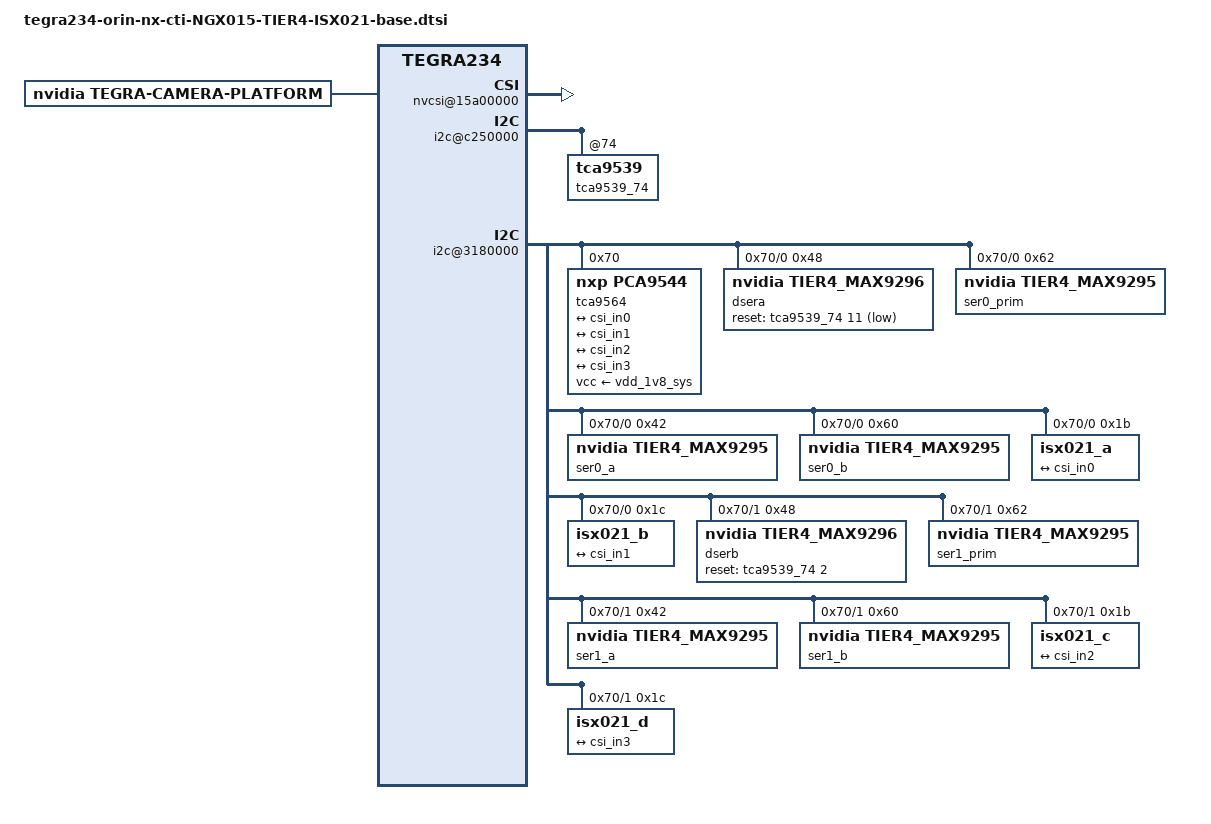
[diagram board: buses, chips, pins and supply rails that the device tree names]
/*
 * Copyright (c) 2022, Connect Tech Inc.  All rights reserved.
 *
 * This program is free software; you can redistribute it and/or modify it
 * under the terms and conditions of the GNU General Public License,
 * version 2, as published by the Free Software Foundation.
 *
 * This program is distributed in the hope it will be useful, but WITHOUT
 * ANY WARRANTY; without even the implied warranty of MERCHANTABILITY or
 * FITNESS FOR A PARTICULAR PURPOSE.  See the GNU General Public License for
 * more details.
 *
 * You should have received a copy of the GNU General Public License
 * along with this program.  If not, see <http://www.gnu.org/licenses/>.
 */

#include "dt-bindings/clock/tegra234-clock.h"
#include "tegra234-cti-tier4-isx021-modes-header.dtsi"

#define CAM_LANES 4
#define NUM_LANES "4"
#define BUS_WIDTH 4

#define VC_ID0 "0"
#define VC_ID1 "1"
#define VC_ID0_PORTS 0 
#define VC_ID1_PORTS 1


&cti_polaris_coaxA{
    regulator-always-on;
};
&cti_polaris_coaxB{
    regulator-always-on;
};
&cti_polaris_coaxC{
    regulator-always-on;
};
&cti_polaris_coaxD{
    regulator-always-on;
};

/ {

    tegra-capture-vi {
        status = "okay";
        num-channels = <4>;
        ports {
	    #address-cells = <1>;
	    #size-cells = <0>;
	    status = "okay";
            port@0 {
		reg = <0>;
                status = "okay";
                vi_in0: endpoint {
		            vc-id = <VC_ID0_PORTS>;
                    port-index = <0>;
                    status = "okay";
                    bus-width = <4>;
		    remote-endpoint = <&csi_out0>;
                };
            };
            port@1 {
                status = "okay";
                reg = <1>;
                vi_in1: endpoint {
                    vc-id = <VC_ID1_PORTS>;
                    port-index = <0>;
                    status = "okay";
                    bus-width = <4>;
                    remote-endpoint = <&csi_out1>;
                };
            };
            port@2 {
                status = "okay";
                reg = <2>;
                vi_in2: endpoint {
                    vc-id = <VC_ID0_PORTS>;
                    port-index = <2>;
                    status = "okay";
                    bus-width = <4>;
                    remote-endpoint = <&csi_out2>;
                };
                
            };
            port@3 {
                status = "okay";
                reg = <3>;
                vi_in3: endpoint {
                    vc-id = <VC_ID1_PORTS>;
                    port-index = <2>;
                    status = "okay";
                    bus-width = <4>;
                    remote-endpoint = <&csi_out3>;
                };

            };


    };
    };

    host1x@13e00000 {
        nvcsi@15a00000 {
	    num-channels = <4>;
	    #address-cells = <1>;
	    #size-cells = <0>;
            status = "okay";
            channel@0 {
                status = "okay";
		        reg = <0>;
                ports {
		            #address-cells = <1>;
		            #size-cells = <0>;
                    port@0 {
                        status = "okay";
		            	reg = <0>;
                        csi_in0: endpoint@0 {
                            status = "okay";
                            port-index = <0>;
			                bus-width = <4>;
                            remote-endpoint = <&cam_out0>;
                        };
                    };
                    port@1 {
                        status = "okay";
		            	reg = <1>;
                        csi_out0: endpoint@1 {
                            status = "okay";
			                port-index = <0>;
			                bus-width = <4>;
			                remote-endpoint = <&vi_in0>;
                        };
                    };
                };
            };
            channel@1 {
                status = "okay";
            reg = <1>;
            ports {
                #address-cells = <1>;
                #size-cells = <0>;

                port@0 {
                            reg = <0>;
                            status = "okay";
                            csi_in1: endpoint@2 {
                                status = "okay";
                                port-index = <0>;
                                bus-width = <4>;
                                remote-endpoint = <&cam_out1>;
                            };
                        };
                        port@1 {
                            status = "okay";
                              reg = <1>;
                            csi_out1: endpoint@3 {
                                status = "okay";
                    port-index = <0>;
                    bus-width = <4>;
                    remote-endpoint = <&vi_in1>;
                            };
                        };
                    };
                };
            channel@2 {
                status = "okay";
            reg = <2>;
            ports {
                #address-cells = <1>;
                #size-cells = <0>;

                port@0 {
                            reg = <0>;
                            status = "okay";
                            csi_in2: endpoint@4 {
                                status = "okay";
                                port-index = <2>;
                                bus-width = <4>;
                                remote-endpoint = <&cam_out2>;
                            };
                        };
                        port@1 {
                            status = "okay";
                              reg = <1>;
                            csi_out2: endpoint@5 {
                                status = "okay";
                    port-index = <2>;
                    bus-width = <4>;
                    remote-endpoint = <&vi_in2>;
                            };
                        };
                    };
                };
            channel@3{
                status = "okay";
            reg = <3>;
            ports {
                #address-cells = <1>;
                #size-cells = <0>;

                port@0 {
                            reg = <0>;
                            status = "okay";
                            csi_in3: endpoint@6 {
                                status = "okay";
                                port-index = <2>;
                                bus-width = <4>;
                                remote-endpoint = <&cam_out3>;
                            };
                        };
                        port@1 {
                            status = "okay";
                              reg = <1>;
                            csi_out3: endpoint@7 {
                                status = "okay";
                    port-index = <2>;
                    bus-width = <4>;
                    remote-endpoint = <&vi_in3>;
                            };
                        };
                    };
                };

            };
    };
    i2c@c250000 {

        tca9539_74:tca9539@74 {
            gpio-line-names = "RST_A","PWDN_A","RST_B","PWDN_B","TEMP_SNS_PEN","CAM_PRST#_A","CAM_PRST#_B","CAM_PRST#_C", 
            "CAM_PRST#_D", "CFG_CTRL_Nch", "CFG_CTRL_Pch","DES_STATE_RSTA", "DES_STATE_RSTB";
            tca9539_74_outlow {
                status = "okay";
                gpio-hog;
                gpios = <0 0 1 0 2 0 3 0 4 0 9 0 10 0>;
                output-low;
                line-name = "RST_A","PWDN_A","RST_B","PWDN_B","TEMP_SNS_PEN", "CFG_CTRL_Nch", "CFG_CTRL_Pch";
            };
            tca9539_74_outhigh {
                status = "okay";
                gpio-hog;
                gpios = < 5 0 6 0 7 0 8 0 11 0 12 0>;
                output-high;
                line-name = "CAM_PRST#_A","CAM_PRST#_B","CAM_PRST#_C", "CAM_PRST#_D","DES_STATE_RSTA", "DES_STATE_RSTB";
            };
            tca9539_74_input {
                status = "disabled";
            };

        };
    };



    i2c@3180000 {
	status = "okay";
	#address-cells = <1>;
	#size-cells = <0>;
        tca9564@70 {
	    status = "okay";
	    compatible = "nxp,pca9544";
	    reg = <0x70>;
	    #address-cells = <1>;
	    #size-cells = <0>;
	    vcc-supply = <&vdd_1v8_sys>;
	    //skip_mux_detect;
	    force_bus_start = <0x28>;
       i2c@0 {
        status = "okay";
		reg = <0>;
		i2c-mux,deselect-on-exit;
		#address-cells = <1>;
		#size-cells = <0>;

        dsera: max9296@48 {
           compatible = "nvidia,tier4_max9296";
            status = "okay";
            reg = <0x48>;
            csi-mode = "2x4";
            max-src = <2>;
            reset-gpios = <&tca9539_74 11 GPIO_ACTIVE_LOW>;
        };
        ser0_prim: max9295_prim@62 {
            compatible = "nvidia,tier4_max9295";
            reg = <0x62>;
            is-prim-ser;
            status = "okay";
        };
        ser0_a: max9295_a@42 {
            compatible = "nvidia,tier4_max9295";
            reg = <0x42>;
            nvidia,gmsl-dser-device = <&dsera>;
            status = "okay";
        };
        ser0_b: max9295_b@60 {
            compatible = "nvidia,tier4_max9295";
            reg = <0x60>;
            nvidia,gmsl-dser-device = <&dsera>;
            status = "okay";
        };


#define LANE_POLARITY "6"
#define TEGRA_SINTERFACE "serial_a"
        isx021_a@1b {
            nvidia,gmsl-ser-device = <&ser0_a>;
            nvidia,gmsl-dser-device = <&dsera>;
            reg = <0x1b>;
            status = "okay";
            devnode = "video0";
            reg_mux = <0>;
           
            SENSOR_COMMON

            #define VC_ID VC_ID0
            SENSOR_MODE0
            
            
            ports {
                #address-cells = <1>;
                #size-cells = <0>;
                port@0 {
                    reg = <0>;
                    cam_out0: endpoint {
                        vc-id = <0>;
                        port-index = <0>;
                        bus-width = <BUS_WIDTH>;
                        remote-endpoint = <&csi_in0>;
                    };
                };
            };
            gmsl-link {
                src-csi-port = "b";     /* Port at which sensor is connected to its serializer device. */
                dst-csi-port = "a";     /* Destination CSI port on the Jetson side, connected at deserializer. */
                serdes-csi-link = "a";  /* GMSL link sensor/serializer connected */
                csi-mode = "1x4";       /*  to sensor CSI mode. */
                st-vc = <0>;            /* Sensor source default VC ID: 0 unless overridden by sensor. */
                vc-id = <0>;            /* Destination VC ID, assigned to sensor stream by deserializer. */
                num-lanes = <BUS_WIDTH>;
                streams = "ued-u1","yuv8"; /* Types of streams sensor is streaming. */
            };
        };
        isx021_b@1c {
            nvidia,gmsl-ser-device = <&ser0_b>;
            nvidia,gmsl-dser-device = <&dsera>;
            devnode = "video1";
            reg = <0x1c>;
            status = "okay";
            reg_mux = <0>;

            SENSOR_COMMON

            #undef VC_ID
            #define VC_ID VC_ID1

            SENSOR_MODE0           
            
            ports {
                #address-cells = <1>;
                #size-cells = <0>;
                port@0 {
                    reg = <0>;
                    cam_out1: endpoint {
                        vc-id = <1>;
                        port-index = <0>;
                        bus-width = <BUS_WIDTH>;
                        remote-endpoint = <&csi_in1>;
                    };
                };
            };
            gmsl-link {
                src-csi-port = "b";     /* Port at which sensor is connected to its serializer device. */
                dst-csi-port = "a";     /* Destination CSI port on the Jetson side, connected at deserializer. */
                serdes-csi-link = "b";  /* GMSL link sensor/serializer connected */
                csi-mode = "1x4";       /*  to sensor CSI mode. */
                st-vc = <0>;            /* Sensor source default VC ID: 0 unless overridden by sensor. */
                vc-id = <1>;            /* Destination VC ID, assigned to sensor stream by deserializer. */
                num-lanes = <BUS_WIDTH>;
                streams = "ued-u1","yuv8"; /* Types of streams sensor is streaming. */
            };
        };



       };

       i2c@1 {
        status = "okay";
		reg = <1>;
		i2c-mux,deselect-on-exit;
		#address-cells = <1>;
		#size-cells = <0>;

        dserb: max9296@48 {
            compatible = "nvidia,tier4_max9296";
            status = "okay";
            reg = <0x48>;
            csi-mode = "2x4";
            max-src = <2>;
            reset-gpios = <&tca9539_74 2 GPIO_ACTIVE_HIGH>;
        };

        ser1_prim: max9295_prim@62 {
            compatible = "nvidia,tier4_max9295";
            reg = <0x62>;
            is-prim-ser;
            status = "okay";
        };
        ser1_a: max9295_a@42 {
            compatible = "nvidia,tier4_max9295";
            reg = <0x42>;
            nvidia,gmsl-dser-device = <&dserb>;
            status = "okay";
        };
        ser1_b: max9295_b@60 {
            compatible = "nvidia,tier4_max9295";
            reg = <0x60>;
            nvidia,gmsl-dser-device = <&dserb>;
            status = "okay";
        };

        #undef LANE_POLARITY
        #undef TEGRA_SINTERFACE
        #define LANE_POLARITY "0"
        #define TEGRA_SINTERFACE "serial_c"

        isx021_c@1b {
            nvidia,gmsl-ser-device = <&ser1_a>;
            nvidia,gmsl-dser-device = <&dserb>;
            reg = <0x1b>;
            status = "okay";
            devnode = "video2";

            reg_mux = <1>;
            SENSOR_COMMON

            #undef VC_ID
            #define VC_ID VC_ID0
            SENSOR_MODE0

            ports {
                #address-cells = <1>;
                #size-cells = <0>;
                port@0 {
                    reg = <0>;
                    cam_out2: endpoint {
                        vc-id = <0>;
                        port-index = <2>;
                        bus-width = <BUS_WIDTH>;
                        remote-endpoint = <&csi_in2>;
                    };
                };
            };
            gmsl-link {
                src-csi-port = "b";     /* Port at which sensor is connected to its serializer device. */
                dst-csi-port = "a";     /* Destination CSI port on the Jetson side, connected at deserializer. */
                serdes-csi-link = "a";  /* GMSL link sensor/serializer connected */
                csi-mode = "1x4";       /*  to sensor CSI mode. */
                st-vc = <0>;            /* Sensor source default VC ID: 0 unless overridden by sensor. */
                vc-id = <0>;            /* Destination VC ID, assigned to sensor stream by deserializer. */
                num-lanes = <BUS_WIDTH>;
                streams = "ued-u1","yuv8"; /* Types of streams sensor is streaming. */
            };
        };
            isx021_d@1c {
            nvidia,gmsl-ser-device = <&ser1_b>;
            nvidia,gmsl-dser-device = <&dserb>;
            devnode = "video3";
            reg = <0x1c>;
            status = "okay";

            reg_mux = <1>;
            SENSOR_COMMON

            #undef VC_ID
            #define VC_ID VC_ID1
            SENSOR_MODE0
            
            ports {
                #address-cells = <1>;
                #size-cells = <0>;
                port@0 {
                    reg = <0>;
                    cam_out3: endpoint {
                        vc-id = <1>;
                        port-index = <2>;
                        bus-width = <BUS_WIDTH>;
                        remote-endpoint = <&csi_in3>;
                    };
                };
            };
            gmsl-link {
                src-csi-port = "b";     /* Port at which sensor is connected to its serializer device. */
                dst-csi-port = "a";     /* Destination CSI port on the Jetson side, connected at deserializer. */
                serdes-csi-link = "b";  /* GMSL link sensor/serializer connected */
                csi-mode = "1x4";       /*  to sensor CSI mode. */
                st-vc = <0>;            /* Sensor source default VC ID: 0 unless overridden by sensor. */
                vc-id = <1>;            /* Destination VC ID, assigned to sensor stream by deserializer. */
                num-lanes = <BUS_WIDTH>;
                streams = "ued-u1","yuv8"; /* Types of streams sensor is streaming. */
            };
        };


		};
            };
    };
    };

/ {

    tegra-camera-platform {
        num_csi_lanes = <8>;
        max_lane_speed = <1500000>;
        min_bits_per_pixel = <10>;
        vi_peak_byte_per_pixel = <2>;
        vi_bw_margin_pct = <25>;
        isp_peak_byte_per_pixel = <5>;
        isp_bw_margin_pct = <25>;
	compatible = "nvidia, tegra-camera-platform";
	status = "okay";
        
	modules {
            module0 {
                status = "okay";
	        	badge = "isx021_rear_tier4";
		        orientation = "1";
		        position = "rear"; 
                 drivernode0 {
                    status = "okay";
                    pcl_id = "v4l2_sensor";
                    devname = "isx021 40-001b";
                    proc-device-tree = "/proc/device-tree/i2c@3180000/tca9564@70/i2c@0/isx021_a@1b";
                };
            };
            module1 {
                status = "okay";
	        	badge = "isx021_front_tier4";
		        orientation = "1";
		        position = "front"; 
                 drivernode0 {
                    status = "okay";
                    pcl_id = "v4l2_sensor";
                    devname = "isx021 40-001c";
                    proc-device-tree = "/proc/device-tree/i2c@3180000/tca9564@70/i2c@0/isx021_b@1c";
                };
            };
            module2 {
                status = "okay";
	        	badge = "isx021_left_tier4";
		        orientation = "1";
		        position = "left"; 
                 drivernode0 {
                    status = "okay";
                    pcl_id = "v4l2_sensor";
                    devname = "isx021 41-001b";
                    proc-device-tree = "/proc/device-tree/i2c@3180000/tca9564@70/i2c@1/isx021_c@1b";
                };
            };
            module3 {
                status = "okay";
	        	badge = "isx021_right_tier4";
		        orientation = "1";
		        position = "right"; 
                 drivernode0 {
                    status = "okay";
                    pcl_id = "v4l2_sensor";
                    devname = "isx021 41-001c";
                    proc-device-tree = "/proc/device-tree/i2c@3180000/tca9564@70/i2c@1/isx021_d@1c";
                };
            };
        };
    };
};
